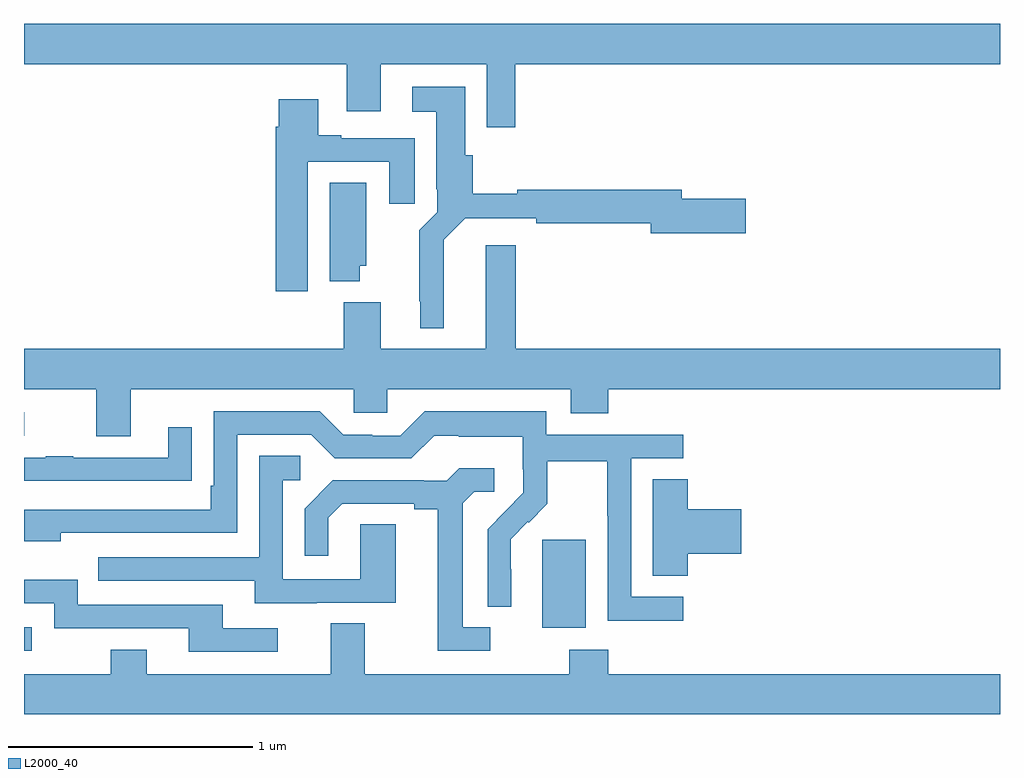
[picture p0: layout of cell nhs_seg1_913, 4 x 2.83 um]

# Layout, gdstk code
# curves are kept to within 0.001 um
import gdstk
lib = gdstk.Library(unit=1e-6, precision=1e-09)
def R(c, l, rs):  # rectangles x0, y0, x1, y1
    for r in rs: c.add(gdstk.rectangle(r[:2], r[2:], *l))
def P(c, l, *ps):  # polygons
    for p in ps: c.add(gdstk.Polygon(p, *l))
L2000_40 = (2000, 40)

nhs_seg1_913 = lib.new_cell('nhs_seg1_913')
R(nhs_seg1_913, L2000_40, [(161,510.699,161.032,510.795), (163.124,510.794,163.303,511.155), (161,511.581,161.002,511.677)])
P(nhs_seg1_913, L2000_40, [(163.013,513.104),(165,513.104),(165,513.268),(161,513.268),(161,513.104),(162.323,513.104),(162.323,512.91),(162.463,512.91),(162.463,513.104),(162.897,513.104),(162.897,512.844),(163.013,512.844)],
  [(162.721,512.384),(162.808,512.472),(163.099,512.472),(163.099,512.452),(163.568,512.452),(163.568,512.41),(163.957,512.41),(163.957,512.552),(163.696,512.552),(163.696,512.588),(163.022,512.588),(163.022,512.573),(162.839,512.573),(162.839,512.73),(162.808,512.73),(162.808,513.01),(162.591,513.01),(162.591,512.909),(162.689,512.909),(162.689,512.59),(162.693,512.59),(162.693,512.496),(162.619,512.422),(162.619,512.131),(162.623,512.131),(162.623,512.021),(162.721,512.021)],
  [(162.163,512.703),(162.497,512.703),(162.497,512.532),(162.601,512.532),(162.601,512.799),(162.301,512.799),(162.301,512.812),(162.205,512.812),(162.205,512.959),(162.044,512.959),(162.044,512.846),(162.032,512.846),(162.032,512.172),(162.163,512.172)],
  [(162.376,512.277),(162.403,512.277),(162.403,512.618),(162.254,512.618),(162.254,512.213),(162.376,512.213)],
  [(161.437,511.772),(162.351,511.772),(162.351,511.674),(162.489,511.674),(162.489,511.772),(163.241,511.772),(163.241,511.673),(163.394,511.673),(163.394,511.772),(165,511.772),(165,511.936),(163.016,511.936),(163.016,512.362),(162.893,512.362),(162.893,511.936),(162.463,511.936),(162.463,512.128),(162.311,512.128),(162.311,511.936),(161,511.936),(161,511.772),(161.297,511.772),(161.297,511.578),(161.437,511.578)],
  [(163.702,510.921),(163.488,510.921),(163.488,511.488),(163.702,511.488),(163.702,511.584),(163.14,511.584),(163.14,511.681),(162.643,511.681),(162.543,511.581),(162.428,511.581),(162.428,511.584),(162.309,511.584),(162.213,511.68),(161.778,511.68),(161.778,511.375),(161.765,511.375),(161.765,511.278),(161,511.278),(161,511.148),(161.15,511.148),(161.15,511.182),(161.874,511.182),(161.874,511.584),(162.177,511.584),(162.273,511.488),(162.588,511.488),(162.681,511.581),(162.781,511.581),(162.781,511.577),(163.044,511.577),(163.044,511.443),(163.046,511.443),(163.046,511.346),(162.9,511.198),(162.9,510.88),(162.996,510.88),(162.995,511.157),(163.065,511.227),(163.068,511.224),(163.145,511.301),(163.145,511.476),(163.39,511.476),(163.39,511.252),(163.392,511.252),(163.392,510.823),(163.702,510.823)],
  [(161.585,511.396),(161.687,511.396),(161.687,511.615),(161.591,511.615),(161.591,511.491),(161.201,511.491),(161.201,511.496),(161.089,511.496),(161.089,511.491),(161,511.491),(161,511.395),(161.585,511.395)],
  [(162.199,510.897),(162.523,510.897),(162.523,511.217),(162.378,511.217),(162.378,510.993),(162.06,510.993),(162.06,511.398),(162.133,511.398),(162.133,511.499),(161.964,511.499),(161.964,511.083),(161.305,511.083),(161.305,510.987),(161.945,510.987),(161.945,510.893),(162.199,510.893)],
  [(162.91,510.795),(162.799,510.795),(162.799,511.303),(162.846,511.35),(162.928,511.35),(162.928,511.447),(162.784,511.447),(162.732,511.395),(162.638,511.395),(162.638,511.398),(162.266,511.398),(162.15,511.282),(162.15,511.089),(162.247,511.089),(162.247,511.245),(162.304,511.302),(162.599,511.302),(162.599,511.28),(162.695,511.28),(162.695,510.699),(162.91,510.699)],
  [(163.721,511.097),(163.939,511.097),(163.939,511.28),(163.721,511.28),(163.721,511.403),(163.577,511.403),(163.577,511.006),(163.721,511.006)],
  [(162.04,510.792),(161.815,510.792),(161.815,510.888),(161.22,510.888),(161.22,510.991),(161,510.991),(161,510.894),(161.124,510.894),(161.124,510.792),(161.675,510.792),(161.675,510.696),(162.04,510.696)],
  [(165,510.604),(163.394,510.604),(163.394,510.703),(163.234,510.703),(163.234,510.604),(162.397,510.604),(162.397,510.812),(162.257,510.812),(162.257,510.604),(161.503,510.604),(161.503,510.703),(161.356,510.703),(161.356,510.604),(161,510.604),(161,510.44),(165,510.44)])

lib.write_gds('nhs_seg1_913.gds')
